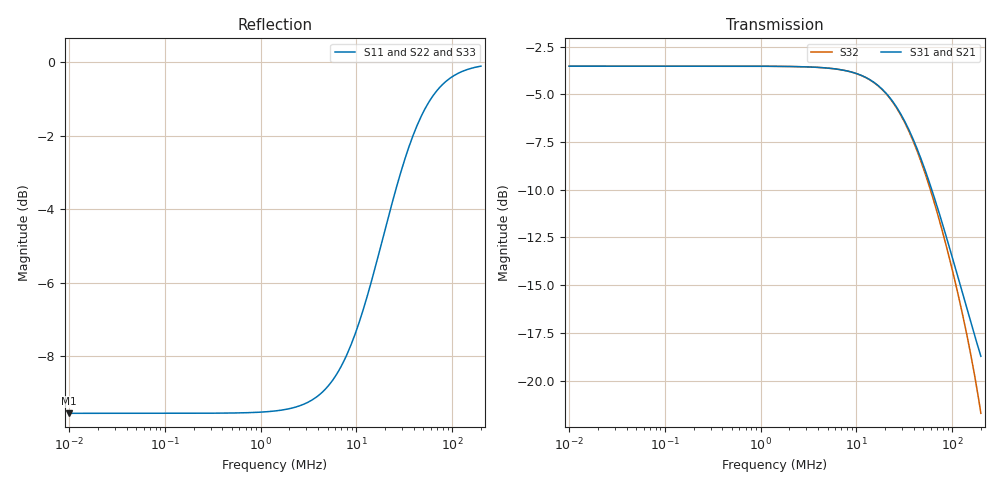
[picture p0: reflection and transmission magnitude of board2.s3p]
! Created with skrf 1.8.0 (http://scikit-rf.org).
# MHz S RI R 50.0
!freq ReS11 ImS11 ReS12 ImS12 ReS13 ImS13
! ReS21 ImS21 ReS22 ImS22 ReS23 ImS23
! ReS31 ImS31 ReS32 ImS32 ReS33 ImS33
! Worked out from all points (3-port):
!   201 points, 10 kHz to 200 MHz, reference 50 ohm
!   strongest paths, dB at 10 kHz, 118.9 kHz, 1.414 MHz, 16.82 MHz, 200 MHz:
!     S31: -3.5, -3.5, -3.5, -4.5, -18.7
!     S21: -3.5, -3.5, -3.5, -4.5, -18.9
!     S32: -3.5, -3.5, -3.5, -4.5, -21.7
!   lowest |S11| = -9.5 dB at 10 kHz (marker M1), VSWR 2.00, Z = 25 - j0.0114 ohm
!   |S11| at or under -10 dB: nowhere
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0.01  -0.3333 -0.000202  0.6666 -0.000205  0.6666 -0.000205
      0.6666 -0.000205  -0.3333 -0.000203  0.6666 -0.000204
      0.6666 -0.000205  0.6666 -0.000204  -0.3333 -0.000203
1.414214  -0.3345 -0.0285  0.6654 -0.0289  0.6654 -0.0289
          0.6654 -0.0289  -0.3345 -0.0286  0.6654 -0.0288
          0.6654 -0.0289  0.6654 -0.0288  -0.3345 -0.0286
4.417062  -0.3452 -0.0877  0.6547 -0.0888  0.6547 -0.0888
          0.6547 -0.0888  -0.3453 -0.0879  0.6547 -0.0886
          0.6547 -0.0888  0.6547 -0.0886  -0.3453 -0.0879
9.283478  -0.3827 -0.1737  0.617 -0.176  0.617 -0.1761
          0.617 -0.176  -0.3832 -0.174  0.6167 -0.1756
          0.617 -0.1761  0.6167 -0.1756  -0.3832 -0.1739
16.00543  -0.4614 -0.2612  0.5378 -0.2649  0.5378 -0.265
          0.5378 -0.2649  -0.4629 -0.2611  0.5371 -0.2639
          0.5378 -0.265  0.5371 -0.2639  -0.4628 -0.2611
27.59459  -0.6096 -0.3258  0.3887 -0.3314  0.3888 -0.3316
          0.3887 -0.3314  -0.6127 -0.3243  0.3873 -0.3291
          0.3888 -0.3316  0.3873 -0.3291  -0.6126 -0.3243
43.08939  -0.7557 -0.3171  0.2418 -0.3249  0.2419 -0.3252
          0.2418 -0.3249  -0.7604 -0.3126  0.2396 -0.3202
          0.2419 -0.3252  0.2396 -0.3202  -0.7602 -0.3126
78.06065  -0.9006 -0.2298  0.096 -0.242  0.0961 -0.2427
          0.096 -0.242  -0.9069 -0.2178  0.0931 -0.2316
          0.0961 -0.2427  0.0931 -0.2316  -0.9066 -0.2179
134.5826  -0.9634 -0.1382  0.0326 -0.1581  0.0327 -0.1595
          0.0326 -0.1581  -0.9699 -0.1145  0.0299 -0.1382
          0.0327 -0.1595  0.0299 -0.1382  -0.9696 -0.1147
200  -0.9832 -0.083  0.0122 -0.113  0.0123 -0.1151
     0.0122 -0.113  -0.989 -0.0462  0.0105 -0.0814
     0.0123 -0.1151  0.0105 -0.0814  -0.9887 -0.0463
